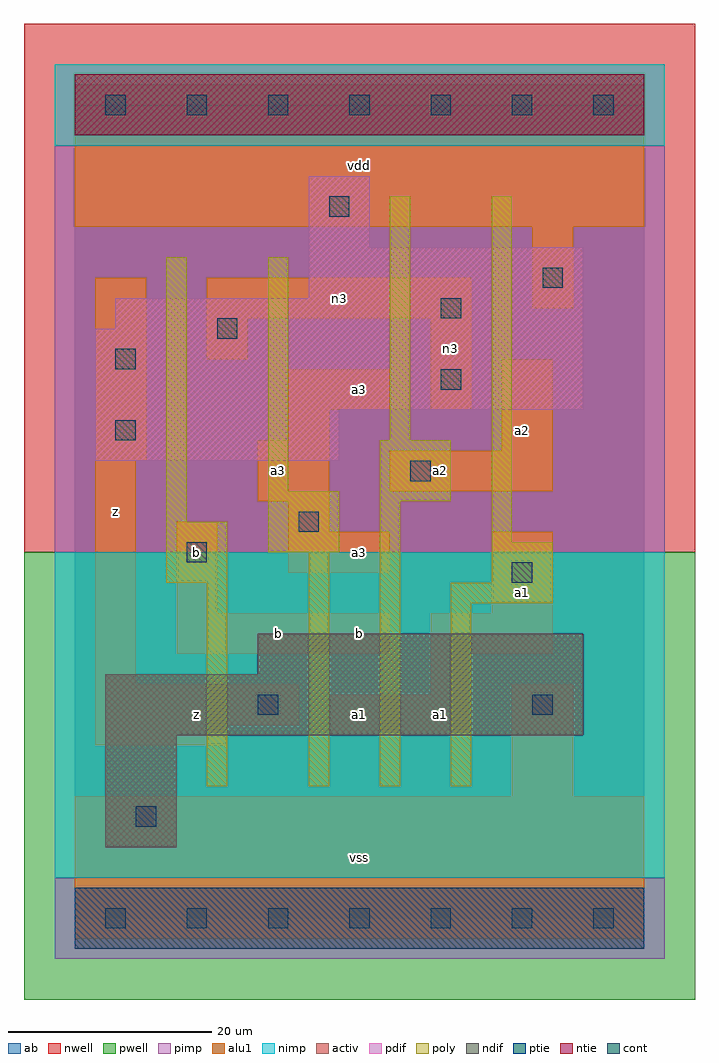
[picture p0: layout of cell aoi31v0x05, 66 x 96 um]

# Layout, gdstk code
import gdstk
lib = gdstk.Library(unit=1e-6, precision=1e-09)
def R(c, l, rs):  # rectangles x0, y0, x1, y1
    for r in rs: c.add(gdstk.rectangle(r[:2], r[2:], *l))
def A(c, l, x, y, w, h, nx, ny, dx, dy):  # array of equal rectangles
    R(c, l, [(x+i*dx, y+j*dy, x+i*dx+w, y+j*dy+h) for i in range(nx) for j in range(ny)])
ndif = (3, 0)
pdif = (4, 0)
ntie = (5, 0)
ptie = (6, 0)
cont = (25, 0)
pwell = (41, 0)
nwell = (42, 0)
activ = (43, 0)
pimp = (44, 0)
nimp = (45, 0)
poly = (46, 0)
alu1 = (49, 0)
ab = (63, 0)

aoi31v0x05 = lib.new_cell('aoi31v0x05')
R(aoi31v0x05, ndif, [(3,7,10,18), (3,18,50,24), (18,24,50,28)])
R(aoi31v0x05, pdif, [(2,45,26,50), (2,50,50,58), (4,58,50,61), (23,61,50,66), (23,66,29,73)])
R(aoi31v0x05, ntie, [(0,77,56,83)])
R(aoi31v0x05, ptie, [(0,-3,56,3)])
A(aoi31v0x05, cont, 3, -1, 2, 2, 7, 2, 8, 80)
R(aoi31v0x05, cont, [(6,9,8,11), (18,20,20,22), (45,20,47,22), (43,33,45,35), (11,35,13,37), (22,38,24,40), (33,43,35,45), (4,47,6,49), (36,52,38,54), (4,54,6,56), (14,57,16,59), (36,59,38,61), (46,62,48,64), (25,69,27,71)])
R(aoi31v0x05, pwell, [(-5,-8,61,36)])
R(aoi31v0x05, nwell, [(-5,36,61,88)])
R(aoi31v0x05, activ, [(0,-3,56,3), (3,7,10,18), (3,18,50,24), (18,24,50,28), (2,45,26,50), (2,50,50,58), (4,58,50,61), (23,61,50,66), (23,66,29,73), (0,77,56,83)])
R(aoi31v0x05, pimp, [(-2,-4,58,4), (-2,36,58,76)])
R(aoi31v0x05, nimp, [(-2,4,58,36), (-2,76,58,84)])
R(aoi31v0x05, poly, [(13,13,15,33), (23,13,25,36), (30,13,32,41), (37,13,39,31), (37,31,47,33), (9,33,15,39), (41,33,47,37), (19,36,26,42), (41,37,43,71), (9,39,11,65), (30,41,37,47), (19,42,21,65), (31,47,33,71)])
R(aoi31v0x05, alu1, [(0,-2,56,12), (43,12,49,23), (2,17,15,19), (25,18,39,22), (2,19,22,23), (35,22,39,26), (2,23,6,45), (10,26,31,30), (35,26,47,30), (10,30,14,39), (41,30,47,38), (21,34,31,38), (21,38,25,41), (18,41,25,47), (31,42,47,46), (2,45,7,63), (42,46,47,55), (21,47,25,50), (21,50,31,54), (35,50,39,59), (13,55,17,59), (13,59,39,63), (45,60,49,68), (0,68,56,82)])
R(aoi31v0x05, ab, [(0,0,56,80)])
aoi31v0x05.add(gdstk.Label('n3', (37,56), layer=49, texttype=0))
aoi31v0x05.add(gdstk.Label('n3', (26,61), layer=49, texttype=0))
aoi31v0x05.add(gdstk.Label('z', (4,40), layer=49, texttype=0))
aoi31v0x05.add(gdstk.Label('z', (12,20), layer=49, texttype=0))
aoi31v0x05.add(gdstk.Label('b', (12,36), layer=49, texttype=0))
aoi31v0x05.add(gdstk.Label('b', (20,28), layer=49, texttype=0))
aoi31v0x05.add(gdstk.Label('a3', (20,44), layer=49, texttype=0))
aoi31v0x05.add(gdstk.Label('vss', (28,6), layer=49, texttype=0))
aoi31v0x05.add(gdstk.Label('a1', (36,20), layer=49, texttype=0))
aoi31v0x05.add(gdstk.Label('a1', (28,20), layer=49, texttype=0))
aoi31v0x05.add(gdstk.Label('b', (28,28), layer=49, texttype=0))
aoi31v0x05.add(gdstk.Label('a3', (28,36), layer=49, texttype=0))
aoi31v0x05.add(gdstk.Label('a2', (36,44), layer=49, texttype=0))
aoi31v0x05.add(gdstk.Label('a3', (28,52), layer=49, texttype=0))
aoi31v0x05.add(gdstk.Label('vdd', (28,74), layer=49, texttype=0))
aoi31v0x05.add(gdstk.Label('a1', (44,32), layer=49, texttype=0))
aoi31v0x05.add(gdstk.Label('a2', (44,48), layer=49, texttype=0))

lib.write_gds('aoi31v0x05.gds')
